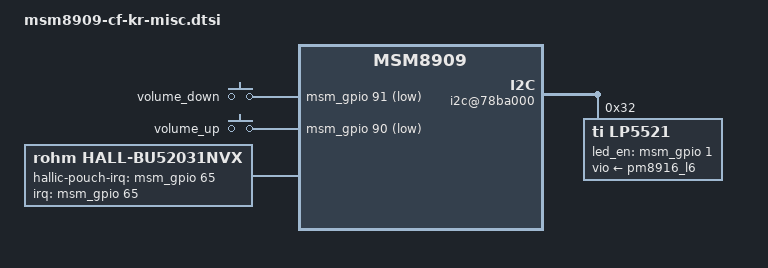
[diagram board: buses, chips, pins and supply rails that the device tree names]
/* Copyright (c) 2014, The Linux Foundation. All rights reserved.
 *
 * This program is free software; you can redistribute it and/or modify
 * it under the terms of the GNU General Public License version 2 and
 * only version 2 as published by the Free Software Foundation.
 *
 * This program is distributed in the hope that it will be useful,
 * but WITHOUT ANY WARRANTY; without even the implied warranty of
 * MERCHANTABILITY or FITNESS FOR A PARTICULAR PURPOSE.  See the
 * GNU General Public License for more details.
 */

&soc {
	gpio_keys {
		compatible = "gpio-keys";
		input-name = "gpio-keys";
		pinctrl-names = "tlmm_gpio_key_active","tlmm_gpio_key_suspend";
		pinctrl-0 = <&gpio_key_active>;
		pinctrl-1 = <&gpio_key_suspend>;

		vol_down {
			label = "volume_down";
			gpios = <&msm_gpio 91 0x1>;
			linux,input-type = <1>;
			linux,code = <114>;
			gpio-key,wakeup;
			debounce-interval = <15>;
		};

		vol_up {
			label = "volume_up";
			gpios = <&msm_gpio 90 0x1>;
			linux,input-type = <1>;
			linux,code = <115>;
			gpio-key,wakeup;
			debounce-interval = <15>;
		};
	};

	hall-bu52031nvx {
		status = "ok";
		compatible = "rohm,hall-bu52031nvx";
		interrupt-parent = <&msm_gpio>;
		interrupts = <65 0x0>;
		hallic-pouch-irq-gpio = <&msm_gpio 65 0x00>;
	};

	i2c@78ba000 {
		lp5521@32 {
			compatible = "ti,lp5521";
			status = "ok";
			revision = "rev_a...rev_c","rev_e...";
			reg = <0x32>;
			ti,led_en = <&msm_gpio 1 0x0>;
			ti,led_current = <64 50 50>; /* Red, Green, Blue */
			vio-supply = <&pm8916_l6>;
		};
	};
};
#include "msm8909-touch-melfas-mms128s.dtsi"
#include "msm8909-touch-leadingui-lu2020.dtsi"
